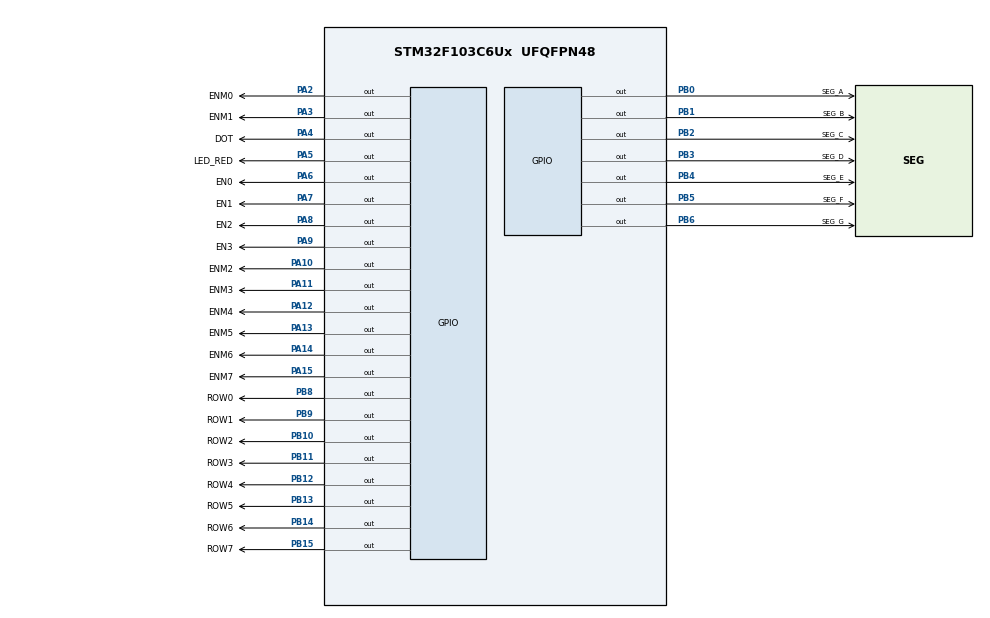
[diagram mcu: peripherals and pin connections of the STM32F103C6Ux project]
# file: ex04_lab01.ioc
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Mcu.Family=STM32F1
Mcu.Name=STM32F103C6Ux
Mcu.Package=UFQFPN48
NVIC.PriorityGroup=NVIC_PRIORITYGROUP_4
NVIC.TIM2_IRQn=true\:0\:0\:false\:false\:true\:true\:true\:true
PA10.GPIO_Label=ENM2
PA10.PinState=GPIO_PIN_SET
PA10.Signal=GPIO_Output
PA11.GPIO_Label=ENM3
PA11.PinState=GPIO_PIN_SET
PA11.Signal=GPIO_Output
PA12.GPIO_Label=ENM4
PA12.PinState=GPIO_PIN_SET
PA12.Signal=GPIO_Output
PA13.GPIO_Label=ENM5
PA13.PinState=GPIO_PIN_SET
PA13.Signal=GPIO_Output
PA14.GPIO_Label=ENM6
PA14.PinState=GPIO_PIN_SET
PA14.Signal=GPIO_Output
PA15.GPIO_Label=ENM7
PA15.PinState=GPIO_PIN_SET
PA15.Signal=GPIO_Output
PA2.GPIO_Label=ENM0
PA2.PinState=GPIO_PIN_SET
PA2.Signal=GPIO_Output
PA3.GPIO_Label=ENM1
PA3.PinState=GPIO_PIN_SET
PA3.Signal=GPIO_Output
PA4.GPIO_Label=DOT
PA4.PinState=GPIO_PIN_SET
PA4.Signal=GPIO_Output
PA5.GPIO_Label=LED_RED
PA5.PinState=GPIO_PIN_SET
PA5.Signal=GPIO_Output
PA6.GPIO_Label=EN0
PA6.GPIO_Speed=GPIO_SPEED_FREQ_LOW
PA6.PinState=GPIO_PIN_SET
PA6.Signal=GPIO_Output
PA7.GPIO_Label=EN1
PA7.PinState=GPIO_PIN_SET
PA7.Signal=GPIO_Output
PA8.GPIO_Label=EN2
PA8.PinState=GPIO_PIN_SET
PA8.Signal=GPIO_Output
PA9.GPIO_Label=EN3
PA9.PinState=GPIO_PIN_SET
PA9.Signal=GPIO_Output
PB0.GPIO_Label=SEG_A
PB0.PinState=GPIO_PIN_SET
PB0.Signal=GPIO_Output
PB1.GPIO_Label=SEG_B
PB1.PinState=GPIO_PIN_SET
PB1.Signal=GPIO_Output
PB10.GPIO_Label=ROW2
PB10.PinState=GPIO_PIN_SET
PB10.Signal=GPIO_Output
PB11.GPIO_Label=ROW3
PB11.PinState=GPIO_PIN_SET
PB11.Signal=GPIO_Output
PB12.GPIO_Label=ROW4
PB12.PinState=GPIO_PIN_SET
PB12.Signal=GPIO_Output
PB13.GPIO_Label=ROW5
PB13.PinState=GPIO_PIN_SET
PB13.Signal=GPIO_Output
PB14.GPIO_Label=ROW6
PB14.PinState=GPIO_PIN_SET
PB14.Signal=GPIO_Output
PB15.GPIO_Label=ROW7
PB15.PinState=GPIO_PIN_SET
PB15.Signal=GPIO_Output
PB2.GPIO_Label=SEG_C
PB2.PinState=GPIO_PIN_SET
PB2.Signal=GPIO_Output
PB3.GPIO_Label=SEG_D
PB3.PinState=GPIO_PIN_SET
PB3.Signal=GPIO_Output
PB4.GPIO_Label=SEG_E
PB4.PinState=GPIO_PIN_SET
PB4.Signal=GPIO_Output
PB5.GPIO_Label=SEG_F
PB5.PinState=GPIO_PIN_SET
PB5.Signal=GPIO_Output
PB6.GPIO_Label=SEG_G
PB6.PinState=GPIO_PIN_SET
PB6.Signal=GPIO_Output
PB8.GPIO_Label=ROW0
PB8.PinState=GPIO_PIN_SET
PB8.Signal=GPIO_Output
PB9.GPIO_Label=ROW1
PB9.PinState=GPIO_PIN_SET
PB9.Signal=GPIO_Output
ProjectManager.HeapSize=0x200
ProjectManager.StackSize=0x400
ProjectManager.TargetToolchain=CMake
RCC.APB1Freq_Value=8000000
RCC.APB2Freq_Value=8000000
TIM2.Period=9
TIM2.Prescaler=7999
VP_SYS_VS_ND.Mode=No_Debug
VP_TIM2_VS_ClockSourceINT.Mode=Internal
board=custom

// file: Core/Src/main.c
/* USER CODE BEGIN Header */
/**
  ******************************************************************************
  * @file           : main.c
  * @brief          : Main program body
  ******************************************************************************
  * @attention
  *
  * Copyright (c) 2026 STMicroelectronics.
  * All rights reserved.
  *
  * This software is licensed under terms that can be found in the LICENSE file
  * in the root directory of this software component.
  * If no LICENSE file comes with this software, it is provided AS-IS.
  *
  ******************************************************************************
  */
/* USER CODE END Header */
#include "main.h"

TIM_HandleTypeDef htim2;

/* USER CODE BEGIN PV */
const int MAX_LED = 4;
int index_led = 0;
volatile int led_buffer[4] = {0, 0, 0, 0};

int hour = 15;
int minute = 8;
int second = 50;

volatile int timer0_counter = 0;
volatile int timer0_flag = 0;

const int TIMER_CYCLE = 10;
      /* TIM2 period: 10 ms */
volatile int timer1_counter = 0;
volatile int timer1_flag = 0;

volatile int timer2_counter = 0;
volatile int timer2_flag = 0;

const int MAX_LED_MATRIX = 8;
int index_led_matrix = 0;

/* Smaller A: 5 columns wide, 6 rows tall, with blank margins */
uint8_t matrix_buffer[8] = {
    0x00, 0x7C, 0x12, 0x12,
    0x12, 0x7C, 0x00, 0x00
};

uint32_t last_matrix_scan = 0;
/* USER CODE END PV */

void SystemClock_Config(void);
static void MX_GPIO_Init(void);
static void MX_TIM2_Init(void);
/* USER CODE BEGIN PFP */
void display7SEG(int num);
void update7SEG(int index);
void updateClockBuffer(void);
/* USER CODE END PFP */

/* USER CODE BEGIN 0 */

void updateLEDMatrix(int index) {
  const uint16_t all_columns = ENM0_Pin | ENM1_Pin | ENM2_Pin | ENM3_Pin |
                               ENM4_Pin | ENM5_Pin | ENM6_Pin | ENM7_Pin;

  uint16_t selected_column;

  if (index < 0 || index >= MAX_LED_MATRIX) {
    return;
  }

  /* Disable all columns before changing the row data. */
  HAL_GPIO_WritePin(GPIOA, all_columns, GPIO_PIN_SET);

  /* Update the eight active-low row outputs. */
  for (int row = 0; row < 8; row++) {
    uint16_t row_pin = (uint16_t)(GPIO_PIN_8 << row);

    GPIO_PinState row_state = (matrix_buffer[index] & (1U << row))
                                  ? GPIO_PIN_RESET /* Pixel ON */
                                  : GPIO_PIN_SET;  /* Pixel OFF */

    HAL_GPIO_WritePin(GPIOB, row_pin, row_state);
  }

  /* Select the column using the definitions in main.h. */
  switch (index) {
  case 0:
    selected_column = ENM0_Pin; /* PA2 */
    break;

  case 1:
    selected_column = ENM1_Pin; /* PA3 */
    break;

  case 2:
    selected_column = ENM2_Pin; /* PA10 */
    break;

  case 3:
    selected_column = ENM3_Pin; /* PA11 */
    break;

  case 4:
    selected_column = ENM4_Pin; /* PA12 */
    break;

  case 5:
    selected_column = ENM5_Pin; /* PA13 */
    break;

  case 6:
    selected_column = ENM6_Pin; /* PA14 */
    break;

  case 7:
    selected_column = ENM7_Pin; /* PA15 */
    break;

  default:
    return;
  }

  /* Enable only the selected column: active LOW. */
  HAL_GPIO_WritePin(GPIOA, selected_column, GPIO_PIN_RESET);
}

void setTimer0(int duration) {
  timer0_counter = duration / TIMER_CYCLE;
  timer0_flag = 0;
}

void setTimer1(int duration) {
  timer1_counter = duration / TIMER_CYCLE;
  timer1_flag = 0;
}

void setTimer2(int duration) {
  timer2_counter = duration / TIMER_CYCLE;
  timer2_flag = 0;
}

void timer_run(void) {
  if (timer0_counter > 0) {
    timer0_counter--;
    if (timer0_counter == 0) {
      timer0_flag = 1;
    }
  }

  if (timer1_counter > 0) {
    timer1_counter--;
    if (timer1_counter == 0) {
      timer1_flag = 1;
    }
  }

  if (timer2_counter > 0) {
    timer2_counter--;
    if (timer2_counter == 0) {
      timer2_flag = 1;
    }
  }
}

/* Put a number from 0 to 9 on the shared PB0-PB6 segment lines */
void display7SEG(int num){
    const uint16_t all_segments =
        GPIO_PIN_0 | GPIO_PIN_1 | GPIO_PIN_2 | GPIO_PIN_3 |
        GPIO_PIN_4 | GPIO_PIN_5 | GPIO_PIN_6;

    uint16_t segments_on = 0;

    switch (num)
    {
        case 0: /* a b c d e f */
            segments_on = GPIO_PIN_0 | GPIO_PIN_1 | GPIO_PIN_2 |
                          GPIO_PIN_3 | GPIO_PIN_4 | GPIO_PIN_5;
            break;

        case 1: /* b c */
            segments_on = GPIO_PIN_1 | GPIO_PIN_2;
            break;

        case 2: /* a b d e g */
            segments_on = GPIO_PIN_0 | GPIO_PIN_1 | GPIO_PIN_3 |
                          GPIO_PIN_4 | GPIO_PIN_6;
            break;

        case 3: /* a b c d g */
            segments_on = GPIO_PIN_0 | GPIO_PIN_1 | GPIO_PIN_2 |
                          GPIO_PIN_3 | GPIO_PIN_6;
            break;

        case 4: /* b c f g */
            segments_on = GPIO_PIN_1 | GPIO_PIN_2 |
                          GPIO_PIN_5 | GPIO_PIN_6;
            break;

        case 5: /* a c d f g */
            segments_on = GPIO_PIN_0 | GPIO_PIN_2 | GPIO_PIN_3 |
                          GPIO_PIN_5 | GPIO_PIN_6;
            break;

        case 6: /* a c d e f g */
            segments_on = GPIO_PIN_0 | GPIO_PIN_2 | GPIO_PIN_3 |
                          GPIO_PIN_4 | GPIO_PIN_5 | GPIO_PIN_6;
            break;

        case 7: /* a b c */
            segments_on = GPIO_PIN_0 | GPIO_PIN_1 | GPIO_PIN_2;
            break;

        case 8: /* a b c d e f g */
            segments_on = all_segments;
            break;

        case 9: /* a b c d f g */
            segments_on = GPIO_PIN_0 | GPIO_PIN_1 | GPIO_PIN_2 |
                          GPIO_PIN_3 | GPIO_PIN_5 | GPIO_PIN_6;
            break;

        default:
            break; /* Unsupported number: leave all segments off */
    }

    /* Common anode: HIGH = segment off, LOW = segment on */
    HAL_GPIO_WritePin(GPIOB, all_segments, GPIO_PIN_SET);

    if (segments_on != 0)
    {
        HAL_GPIO_WritePin(GPIOB, segments_on, GPIO_PIN_RESET);
    }
  }

/* Select display index 0, 1, 2, or 3 */
void update7SEG(int index){
    if (index < 0 || index >= MAX_LED)
    {
        return;
    }

    /* Disable every display before changing the shared segments */
    HAL_GPIO_WritePin(
        GPIOA,
        GPIO_PIN_6 | GPIO_PIN_7 | GPIO_PIN_8 | GPIO_PIN_9,
        GPIO_PIN_SET
    );

    switch (index)
    {
        case 0:
            display7SEG(led_buffer[0]);
            HAL_GPIO_WritePin(GPIOA, GPIO_PIN_6, GPIO_PIN_RESET);
            break;

        case 1:
            display7SEG(led_buffer[1]);
            HAL_GPIO_WritePin(GPIOA, GPIO_PIN_7, GPIO_PIN_RESET);
            break;

        case 2:
            display7SEG(led_buffer[2]);
            HAL_GPIO_WritePin(GPIOA, GPIO_PIN_8, GPIO_PIN_RESET);
            break;

        case 3:
            display7SEG(led_buffer[3]);
            HAL_GPIO_WritePin(GPIOA, GPIO_PIN_9, GPIO_PIN_RESET);
            break;

        default:
            break;
    }
  }

void updateClockBuffer(void){
    led_buffer[0] = hour / 10;    /* Hour tens */
    led_buffer[1] = hour % 10;    /* Hour ones */
    led_buffer[2] = minute / 10;  /* Minute tens */
    led_buffer[3] = minute % 10;  /* Minute ones */
}

/* USER CODE END 0 */

int main(void)
{

  /* MCU Configuration--------------------------------------------------------*/

  /* Reset of all peripherals, Initializes the Flash interface and the Systick. */
  HAL_Init();

  /* Configure the system clock */
  SystemClock_Config();

  /* Initialize all configured peripherals */
  MX_GPIO_Init();
  MX_TIM2_Init();
  /* USER CODE BEGIN 2 */
  HAL_GPIO_WritePin(GPIOA, GPIO_PIN_4 | GPIO_PIN_5, GPIO_PIN_SET);

  updateClockBuffer();
  update7SEG(index_led); /* Show the first digit immediately */

  setTimer0(1000); /* PA5's first toggle */
  setTimer1(1000); /* Next clock second and DOT toggle */
  setTimer2(250);  /* Next display selection */

  HAL_TIM_Base_Start_IT(&htim2);

  updateLEDMatrix(index_led_matrix);
  last_matrix_scan = HAL_GetTick();
  /* USER CODE END 2 */

  /* Infinite loop */
  /* USER CODE BEGIN WHILE */
  while (1) {
    /* Red LED: first toggle after 1 s, then every 2 s */
    if (timer0_flag == 1) {
      HAL_GPIO_TogglePin(GPIOA, GPIO_PIN_5);
      setTimer0(2000);
    }

    /* Digital clock and DOT: update every 1 s */
    if (timer1_flag == 1) {
      setTimer1(1000);

      second++;

      if (second >= 60) {
        second = 0;
        minute++;
      }

      if (minute >= 60) {
        minute = 0;
        hour++;
      }

      if (hour >= 24) {
        hour = 0;
      }

      updateClockBuffer();
      HAL_GPIO_TogglePin(GPIOA, GPIO_PIN_4);
    }

    /* Seven-segment scan: change display every 250 ms */
    if (timer2_flag == 1) {
      setTimer2(250);

      index_led++;
      if (index_led >= MAX_LED) {
        index_led = 0;
      }

      update7SEG(index_led);
    }

    /* Exercise 09: change matrix column every 5 ms */
    uint32_t now = HAL_GetTick();

    if ((uint32_t)(now - last_matrix_scan) >= 5U) {
      last_matrix_scan = now;

      index_led_matrix++;
      if (index_led_matrix >= MAX_LED_MATRIX) {
        index_led_matrix = 0;
      }

      updateLEDMatrix(index_led_matrix);
    }
    /* USER CODE END WHILE */

  }
}

void SystemClock_Config(void)
{
  RCC_OscInitTypeDef RCC_OscInitStruct = {0};
  RCC_ClkInitTypeDef RCC_ClkInitStruct = {0};

  /** Initializes the RCC Oscillators according to the specified parameters
  * in the RCC_OscInitTypeDef structure.
  */
  RCC_OscInitStruct.OscillatorType = RCC_OSCILLATORTYPE_HSI;
  RCC_OscInitStruct.HSIState = RCC_HSI_ON;
  RCC_OscInitStruct.HSICalibrationValue = RCC_HSICALIBRATION_DEFAULT;
  RCC_OscInitStruct.PLL.PLLState = RCC_PLL_NONE;
  if (HAL_RCC_OscConfig(&RCC_OscInitStruct) != HAL_OK)
  {
    Error_Handler();
  }

  /** Initializes the CPU, AHB and APB buses clocks
  */
  RCC_ClkInitStruct.ClockType = RCC_CLOCKTYPE_HCLK|RCC_CLOCKTYPE_SYSCLK
                              |RCC_CLOCKTYPE_PCLK1|RCC_CLOCKTYPE_PCLK2;
  RCC_ClkInitStruct.SYSCLKSource = RCC_SYSCLKSOURCE_HSI;
  RCC_ClkInitStruct.AHBCLKDivider = RCC_SYSCLK_DIV1;
  RCC_ClkInitStruct.APB1CLKDivider = RCC_HCLK_DIV1;
  RCC_ClkInitStruct.APB2CLKDivider = RCC_HCLK_DIV1;

  if (HAL_RCC_ClockConfig(&RCC_ClkInitStruct, FLASH_LATENCY_0) != HAL_OK)
  {
    Error_Handler();
  }
}

static void MX_TIM2_Init(void)
{

  TIM_ClockConfigTypeDef sClockSourceConfig = {0};
  TIM_MasterConfigTypeDef sMasterConfig = {0};

  htim2.Instance = TIM2;
  htim2.Init.Prescaler = 7999;
  htim2.Init.CounterMode = TIM_COUNTERMODE_UP;
  htim2.Init.Period = 9;
  htim2.Init.ClockDivision = TIM_CLOCKDIVISION_DIV1;
  htim2.Init.AutoReloadPreload = TIM_AUTORELOAD_PRELOAD_DISABLE;
  if (HAL_TIM_Base_Init(&htim2) != HAL_OK)
  {
    Error_Handler();
  }
  sClockSourceConfig.ClockSource = TIM_CLOCKSOURCE_INTERNAL;
  if (HAL_TIM_ConfigClockSource(&htim2, &sClockSourceConfig) != HAL_OK)
  {
    Error_Handler();
  }
  sMasterConfig.MasterOutputTrigger = TIM_TRGO_RESET;
  sMasterConfig.MasterSlaveMode = TIM_MASTERSLAVEMODE_DISABLE;
  if (HAL_TIMEx_MasterConfigSynchronization(&htim2, &sMasterConfig) != HAL_OK)
  {
    Error_Handler();
  }

}

static void MX_GPIO_Init(void)
{
  GPIO_InitTypeDef GPIO_InitStruct = {0};

  /* GPIO Ports Clock Enable */
  __HAL_RCC_GPIOA_CLK_ENABLE();
  __HAL_RCC_GPIOB_CLK_ENABLE();

  /*Configure GPIO pin Output Level */
  HAL_GPIO_WritePin(GPIOA, ENM0_Pin|ENM1_Pin|DOT_Pin|LED_RED_Pin
                          |EN0_Pin|EN1_Pin|EN2_Pin|EN3_Pin
                          |ENM2_Pin|ENM3_Pin|ENM4_Pin|ENM5_Pin
                          |ENM6_Pin|ENM7_Pin, GPIO_PIN_SET);

  /*Configure GPIO pin Output Level */
  HAL_GPIO_WritePin(GPIOB, SEG_A_Pin|SEG_B_Pin|SEG_C_Pin|ROW2_Pin
                          |ROW3_Pin|ROW4_Pin|ROW5_Pin|ROW6_Pin
                          |ROW7_Pin|SEG_D_Pin|SEG_E_Pin|SEG_F_Pin
                          |SEG_G_Pin|ROW0_Pin|ROW1_Pin, GPIO_PIN_SET);

  /*Configure GPIO pins : ENM0_Pin ENM1_Pin DOT_Pin LED_RED_Pin
                           EN0_Pin EN1_Pin EN2_Pin EN3_Pin
                           ENM2_Pin ENM3_Pin ENM4_Pin ENM5_Pin
                           ENM6_Pin ENM7_Pin */
  GPIO_InitStruct.Pin = ENM0_Pin|ENM1_Pin|DOT_Pin|LED_RED_Pin
                          |EN0_Pin|EN1_Pin|EN2_Pin|EN3_Pin
                          |ENM2_Pin|ENM3_Pin|ENM4_Pin|ENM5_Pin
                          |ENM6_Pin|ENM7_Pin;
  GPIO_InitStruct.Mode = GPIO_MODE_OUTPUT_PP;
  GPIO_InitStruct.Pull = GPIO_NOPULL;
  GPIO_InitStruct.Speed = GPIO_SPEED_FREQ_LOW;
  HAL_GPIO_Init(GPIOA, &GPIO_InitStruct);

  /*Configure GPIO pins : SEG_A_Pin SEG_B_Pin SEG_C_Pin ROW2_Pin
                           ROW3_Pin ROW4_Pin ROW5_Pin ROW6_Pin
                           ROW7_Pin SEG_D_Pin SEG_E_Pin SEG_F_Pin
                           SEG_G_Pin ROW0_Pin ROW1_Pin */
  GPIO_InitStruct.Pin = SEG_A_Pin|SEG_B_Pin|SEG_C_Pin|ROW2_Pin
                          |ROW3_Pin|ROW4_Pin|ROW5_Pin|ROW6_Pin
                          |ROW7_Pin|SEG_D_Pin|SEG_E_Pin|SEG_F_Pin
                          |SEG_G_Pin|ROW0_Pin|ROW1_Pin;
  GPIO_InitStruct.Mode = GPIO_MODE_OUTPUT_PP;
  GPIO_InitStruct.Pull = GPIO_NOPULL;
  GPIO_InitStruct.Speed = GPIO_SPEED_FREQ_LOW;
  HAL_GPIO_Init(GPIOB, &GPIO_InitStruct);

}

/* USER CODE BEGIN 4 */
void HAL_TIM_PeriodElapsedCallback(TIM_HandleTypeDef *htim)
{
    if (htim->Instance == TIM2)
    {
        timer_run();
    }
}
/* USER CODE END 4 */

void Error_Handler(void)
{
  __disable_irq();
  while (1)
  {
  }
}
